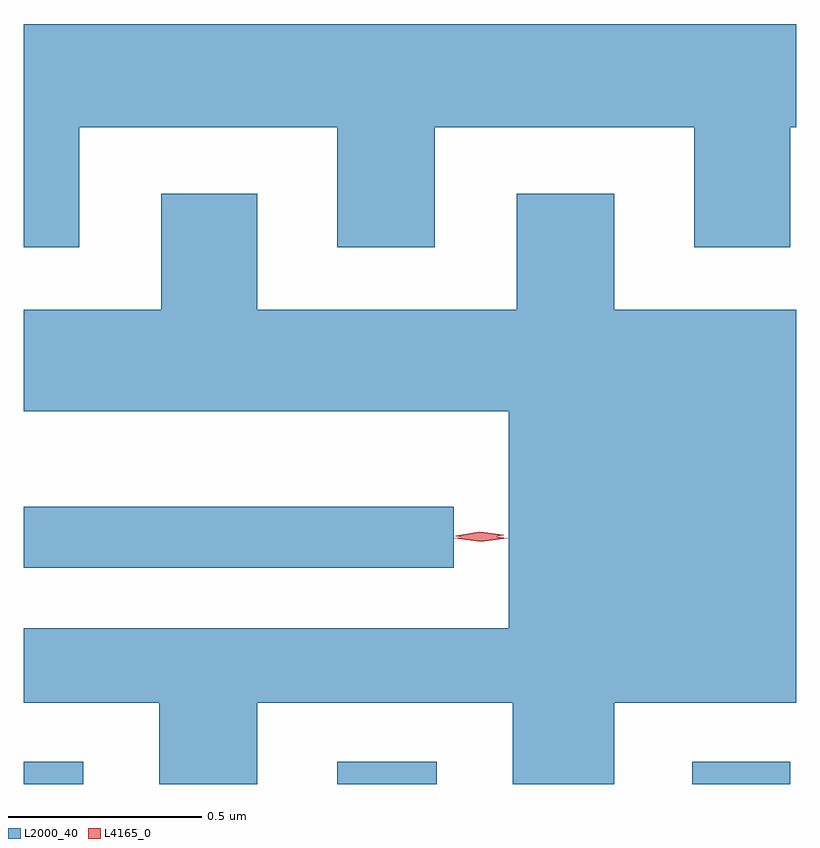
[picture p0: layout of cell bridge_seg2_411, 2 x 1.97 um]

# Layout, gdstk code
import gdstk
lib = gdstk.Library(unit=1e-6, precision=1e-09)
def R(c, l, rs):  # rectangles x0, y0, x1, y1
    for r in rs: c.add(gdstk.rectangle(r[:2], r[2:], *l))
def P(c, l, *ps):  # polygons
    for p in ps: c.add(gdstk.Polygon(p, *l))
L2000_40 = (2000, 40)
L4165_0 = (4165, 0)

bridge_seg2_411 = lib.new_cell('bridge_seg2_411')
R(bridge_seg2_411, L2000_40, [(597.215,1042.176,597.369,1042.234), (598.026,1042.176,598.284,1042.234), (598.946,1042.176,599.199,1042.234), (597.215,1042.736,598.328,1042.894)])
P(bridge_seg2_411, L2000_40, [(597.359,1043.876),(598.026,1043.876),(598.026,1043.566),(598.279,1043.566),(598.279,1043.876),(598.951,1043.876),(598.951,1043.566),(599.199,1043.566),(599.199,1043.876),(599.215,1043.876),(599.215,1044.144),(597.215,1044.144),(597.215,1043.566),(597.359,1043.566)],
  [(597.819,1042.386),(598.481,1042.386),(598.481,1042.176),(598.744,1042.176),(598.744,1042.386),(599.215,1042.386),(599.215,1043.404),(598.744,1043.404),(598.744,1043.704),(598.491,1043.704),(598.491,1043.404),(597.819,1043.404),(597.819,1043.704),(597.571,1043.704),(597.571,1043.404),(597.215,1043.404),(597.215,1043.141),(598.471,1043.141),(598.471,1042.579),(597.215,1042.579),(597.215,1042.386),(597.566,1042.386),(597.566,1042.176),(597.819,1042.176)])
P(bridge_seg2_411, L4165_0, [(598.395,1042.81),(598.333,1042.818),(598.333,1042.818),(598.333,1042.819),(598.395,1042.829),(598.457,1042.821),(598.458,1042.82),(598.457,1042.82)],
  [(598.399,1042.803),(598.33,1042.812),(598.33,1042.813),(598.33,1042.813),(598.399,1042.823),(598.467,1042.813),(598.468,1042.813),(598.467,1042.812)])

lib.write_gds('bridge_seg2_411.gds')
